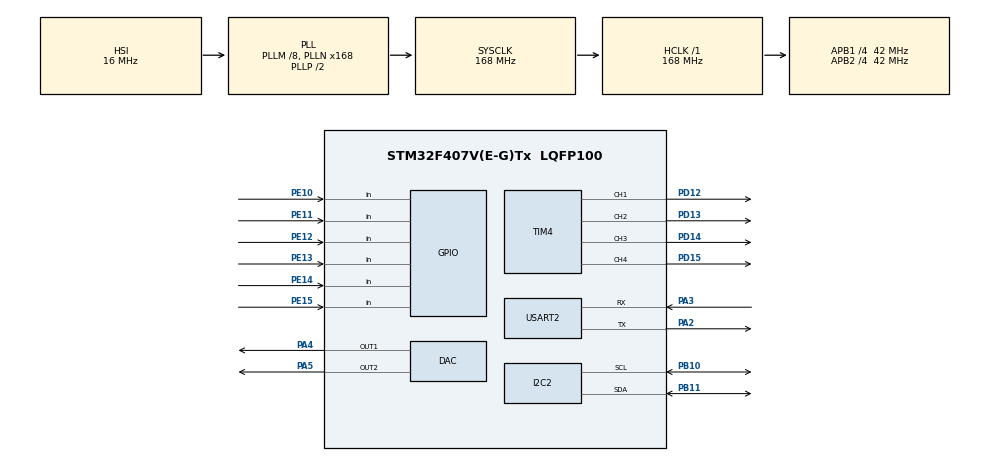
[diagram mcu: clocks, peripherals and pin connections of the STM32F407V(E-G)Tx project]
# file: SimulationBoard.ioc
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I2C2.OwnAddress=111
Mcu.Family=STM32F4
Mcu.Name=STM32F407V(E-G)Tx
Mcu.Package=LQFP100
NVIC.I2C2_ER_IRQn=true\:0\:0\:false\:false\:true\:true\:true\:true
NVIC.I2C2_EV_IRQn=true\:0\:0\:false\:false\:true\:true\:true\:true
NVIC.PriorityGroup=NVIC_PRIORITYGROUP_4
PA2.Mode=Asynchronous
PA2.Signal=USART2_TX
PA3.Mode=Asynchronous
PA3.Signal=USART2_RX
PA4.Signal=COMP_DAC1_group
PA5.Signal=COMP_DAC2_group
PB10.Mode=I2C
PB10.Signal=I2C2_SCL
PB11.Mode=I2C
PB11.Signal=I2C2_SDA
PD12.Signal=S_TIM4_CH1
PD13.Signal=S_TIM4_CH2
PD14.Signal=S_TIM4_CH3
PD15.Signal=S_TIM4_CH4
PE10.GPIO_PuPd=GPIO_PULLDOWN
PE10.Signal=GPIO_Input
PE11.GPIO_PuPd=GPIO_PULLDOWN
PE11.Signal=GPIO_Input
PE12.GPIO_PuPd=GPIO_PULLDOWN
PE12.Signal=GPIO_Input
PE13.GPIO_PuPd=GPIO_PULLDOWN
PE13.Signal=GPIO_Input
PE14.GPIO_PuPd=GPIO_PULLDOWN
PE14.Signal=GPIO_Input
PE15.GPIO_PuPd=GPIO_PULLDOWN
PE15.Signal=GPIO_Input
PH0-OSC_IN.Mode=HSE-External-Oscillator
PH0-OSC_IN.Signal=RCC_OSC_IN
PH1-OSC_OUT.Mode=HSE-External-Oscillator
PH1-OSC_OUT.Signal=RCC_OSC_OUT
ProjectManager.HeapSize=0x200
ProjectManager.StackSize=0x400
ProjectManager.TargetToolchain=STM32CubeIDE
RCC.48MHZClocksFreq_Value=84000000
RCC.AHBFreq_Value=168000000
RCC.APB1CLKDivider=RCC_HCLK_DIV4
RCC.APB1Freq_Value=42000000
RCC.APB1TimFreq_Value=84000000
RCC.APB2CLKDivider=RCC_HCLK_DIV4
RCC.APB2Freq_Value=42000000
RCC.APB2TimFreq_Value=84000000
RCC.CortexFreq_Value=168000000
RCC.HCLKFreq_Value=168000000
RCC.HSE_VALUE=25000000
RCC.HSI_VALUE=16000000
RCC.LSE_VALUE=32768
RCC.PLLM=8
RCC.PLLN=168
RCC.SYSCLKFreq_VALUE=168000000
RCC.SYSCLKSource=RCC_SYSCLKSOURCE_PLLCLK
RCC.VCOOutputFreq_Value=336000000
SH.COMP_DAC1_group.0=DAC_OUT1,DAC_OUT1
SH.COMP_DAC2_group.0=DAC_OUT2,DAC_OUT2
SH.S_TIM4_CH1.0=TIM4_CH1,PWM Generation1 CH1
SH.S_TIM4_CH2.0=TIM4_CH2,PWM Generation2 CH2
SH.S_TIM4_CH3.0=TIM4_CH3,PWM Generation3 CH3
SH.S_TIM4_CH4.0=TIM4_CH4,PWM Generation4 CH4
TIM4.Channel-PWM\ Generation1\ CH1=TIM_CHANNEL_1
TIM4.Channel-PWM\ Generation2\ CH2=TIM_CHANNEL_2
TIM4.Channel-PWM\ Generation3\ CH3=TIM_CHANNEL_3
TIM4.Channel-PWM\ Generation4\ CH4=TIM_CHANNEL_4
USART2.VirtualMode=VM_ASYNC
VP_TIM3_VS_ClockSourceINT.Mode=Internal
VP_TIM4_VS_ClockSourceINT.Mode=Internal
board=custom

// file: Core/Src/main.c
/* USER CODE BEGIN Header */
/**
  ******************************************************************************
  * @file           : main.c
  * @brief          : Main program body
  ******************************************************************************
  * @attention
  *
  * Copyright (c) 2024 STMicroelectronics.
  * All rights reserved.
  *
  * This software is licensed under terms that can be found in the LICENSE file
  * in the root directory of this software component.
  * If no LICENSE file comes with this software, it is provided AS-IS.
  *
  ******************************************************************************
  */
/* USER CODE END Header */
#include "main.h"

/* USER CODE BEGIN PM */
#define  FACE1_DTYCYC						(TIM4->CCR1)
#define  FACE2_DTYCYC						(TIM4->CCR2)
#define  FACE3_DTYCYC						(TIM4->CCR3)
#define  FACE4_DTYCYC						(TIM4->CCR4)
#define  MOTION_ANGLE_0_360			0
#define  MOTION_ANGLE_90			    90
#define  MOTION_ANGLE_180				180
#define  MOTION_ANGLE_270				270
#define  TIMER_OVF_PERIOD				12
#define  USART_TIMEOUT				   100
#define  RXBUFFERSIZE                      1
#define  IMU_REG_ACCEL_DATA         ((uint8_t)0x3B)
#define  IMU_REG_GYRO_DATA          ((uint8_t)0x43)
#define  IMU_REG_TEMP_DATA          ((uint8_t)0x41)
/* USER CODE END PM */

DAC_HandleTypeDef hdac;

I2C_HandleTypeDef hi2c2;

TIM_HandleTypeDef htim3;
TIM_HandleTypeDef htim4;

UART_HandleTypeDef huart2;

/* USER CODE BEGIN PV */
volatile uint32_t TIM_OVF = 0;
uint16_t 	MotionAng = 0;
uint8_t 		aTxBuffer[4];
uint8_t 		getMasterInput = 0;
uint8_t 		getTransferDirection = 0;
/* Buffer used for reception */
uint8_t 		aRxBuffer[4];
uint32_t 	ICValue = 0;
uint32_t 	Frequency = 0;
uint32_t 	XXICValue, YYICValue, ZZICValue;
uint8_t		i2ctemp[2] = { 0x06, 0xd2 };
uint8_t 		i2cAcc[6] = { 0, 2, 0, 3, 0, 0 };
uint8_t 		i2cGero[6] = { 0, 0, 0, 0, 0, 0 };
uint16_t	ACC_Xangle = 0;
uint16_t 	ACC_Yangle = 90;
uint16_t 	ACC_Zangle = 180;
uint16_t	Gyro_Xangle = 0;
uint16_t 	Gyro_Yangle = 0;
uint16_t 	Gyro_Zangle =0;
uint8_t 		increaseFlag = 0;
uint8_t		SimulationFace1Data[8] = {100,80,60,25,15,25,60,80};
uint8_t		SimulationFace2Data[8] = {60,80,100,80,60,25,15,25};
uint16_t	DAC1Val[8] 					 =	 {4095,3276,2457,1024,615,1024,2457,3276};
uint16_t	DAC2Val[8] 					 =  {615,1024,2457,3276,4095,3276,2457,1024};
uint8_t		SimulationFace3Data[8] = {15,25,60,80,100,80,60,25};
uint8_t		SimulationFace4Data[8] = {60,25,15,25,60,80,100,80};
/* USER CODE END PV */

void SystemClock_Config(void);
static void MX_GPIO_Init(void);
static void MX_DAC_Init(void);
static void MX_TIM4_Init(void);
static void MX_USART2_UART_Init(void);
static void MX_I2C2_Init(void);
static void MX_TIM3_Init(void);
/* USER CODE BEGIN PFP */
void MotorX_Read(void);
void MotorY_Read(void);
void MotorZ_Read(void);
/* USER CODE END PFP */

/* USER CODE BEGIN 0 */

void MotorX_Read(void)
{
	if ((HAL_GPIO_ReadPin(GPIOE, GPIO_PIN_10) == 1)
			&& (HAL_GPIO_ReadPin(GPIOE, GPIO_PIN_11) == 0)) {
		HAL_UART_Transmit(&huart2, (uint8_t*) "X FORWARD \n", 11, 1000);
		if (ACC_Xangle != 360)
			ACC_Xangle++;
		if (ACC_Xangle == 360)
			ACC_Xangle = 0;

		i2cAcc[0] = ACC_Xangle >> 8;
		i2cAcc[1] = (uint8_t) ACC_Xangle;

	} else if ((HAL_GPIO_ReadPin(GPIOE, GPIO_PIN_10) == 0)
			&& (HAL_GPIO_ReadPin(GPIOE, GPIO_PIN_11) == 1)) {
		HAL_UART_Transmit(&huart2, (uint8_t*) "X BACK  \n", 11, 1000);
		if (ACC_Xangle != 0)
			ACC_Xangle--;
		if (ACC_Xangle == 0)
			ACC_Xangle = 360;

		i2cAcc[0] = ACC_Xangle >> 8;
		i2cAcc[1] = (uint8_t) ACC_Xangle;
	} else {

	}
}
void MotorY_Read(void)
{
	if ((HAL_GPIO_ReadPin(GPIOE, GPIO_PIN_12) == 1)
			&& (HAL_GPIO_ReadPin(GPIOE, GPIO_PIN_13) == 0)) {
		HAL_UART_Transmit(&huart2, (uint8_t*) "Y FORWARD \n", 11, 1000);
		if (ACC_Yangle != 360)
			ACC_Yangle++;
		if (ACC_Yangle == 360)
			ACC_Yangle = 0;

		i2cAcc[2] = ACC_Yangle >> 8;
		i2cAcc[3] = (uint8_t) ACC_Yangle;

	} else if ((HAL_GPIO_ReadPin(GPIOE, GPIO_PIN_12) == 0)
			&& (HAL_GPIO_ReadPin(GPIOE, GPIO_PIN_13) == 1)) {
		HAL_UART_Transmit(&huart2, (uint8_t*) "Y BACK  \n", 11, 1000);
		if (ACC_Yangle != 0)
			ACC_Yangle--;
		if (ACC_Yangle == 0)
			ACC_Yangle = 360;

		i2cAcc[2] = ACC_Yangle >> 8;
		i2cAcc[3] = (uint8_t) ACC_Yangle;
	} else {

	}
}
void MotorZ_Read(void)
{
	if ((HAL_GPIO_ReadPin(GPIOE, GPIO_PIN_14) == 1)
			&& (HAL_GPIO_ReadPin(GPIOE, GPIO_PIN_15) == 0)) {
		HAL_UART_Transmit(&huart2, (uint8_t*) "Z FORWARD \n", 11, 1000);
		if (ACC_Zangle != 360)
			ACC_Zangle++;
		if (ACC_Zangle == 360)
			ACC_Zangle = 0;

		i2cAcc[4] = ACC_Zangle >> 8;
		i2cAcc[5] = (uint8_t) ACC_Zangle;

	} else if ((HAL_GPIO_ReadPin(GPIOE, GPIO_PIN_14) == 0)
			&& (HAL_GPIO_ReadPin(GPIOE, GPIO_PIN_15) == 1)) {
		HAL_UART_Transmit(&huart2, (uint8_t*) "Z BACK  \n", 11, 1000);
		if (ACC_Zangle != 0)
			ACC_Zangle--;
		if (ACC_Zangle == 0)
			ACC_Zangle = 360;

		i2cAcc[4] = ACC_Zangle >> 8;
		i2cAcc[5] = (uint8_t) ACC_Zangle;
	} else {

	}
}
/* USER CODE END 0 */

int main(void)
{

  /* MCU Configuration--------------------------------------------------------*/

  /* Reset of all peripherals, Initializes the Flash interface and the Systick. */
  HAL_Init();

  /* Configure the system clock */
  SystemClock_Config();

  /* Initialize all configured peripherals */
  MX_GPIO_Init();
  MX_DAC_Init();
  MX_TIM4_Init();
  MX_USART2_UART_Init();
  MX_I2C2_Init();
  MX_TIM3_Init();
  /* USER CODE BEGIN 2 */
  HAL_I2C_EnableListen_IT(&hi2c2);
	HAL_DAC_Start(&hdac, DAC_CHANNEL_1);
	HAL_DAC_Start(&hdac, DAC_CHANNEL_2);
	/*-------------------------------------------
	 * Start PWM for the Different Channels
	 * ------------------------------------------
	 */
	HAL_TIM_Base_Start_IT(&htim3);

	HAL_TIM_PWM_Start(&htim4, TIM_CHANNEL_1);
	HAL_TIM_PWM_Start(&htim4, TIM_CHANNEL_2);
	HAL_TIM_PWM_Start(&htim4, TIM_CHANNEL_3);
	HAL_TIM_PWM_Start(&htim4, TIM_CHANNEL_4);
	/*-------------------------------------------
	 * Set The Duty Cycle of Various PWM channels
	 * -------------------------------------------
	 */
	FACE1_DTYCYC = 90;
	FACE2_DTYCYC = 85;
	FACE3_DTYCYC = 25;
	FACE4_DTYCYC = 25;
	HAL_UART_Transmit(&huart2, (uint8_t*) "Hello Seif El-Didi && Islam Hany \n", 34,
						USART_TIMEOUT);

  /* USER CODE END 2 */

  /* Infinite loop */
  while (1)
  {

    /* USER CODE BEGIN 3 */
		if (TIM_OVF >= TIMER_OVF_PERIOD) {
			/*-------------------------------------------------------------
			 * Set Duty Cycle of PWM to Indicate LDR Voltage
			 * -------------------------------------------------------------
			 */
			FACE1_DTYCYC = SimulationFace1Data[MotionAng];
			FACE2_DTYCYC = SimulationFace2Data[MotionAng];
			FACE3_DTYCYC = SimulationFace3Data[MotionAng];
			FACE4_DTYCYC = SimulationFace4Data[MotionAng];
			/*-------------------------------------------------------------
			 * Set Dac Value to Simulate Solar Cells on Face 1 and 3
			 * -------------------------------------------------------------
			 */
			HAL_DAC_SetValue(&hdac, DAC_CHANNEL_1, DAC_ALIGN_12B_R,
					DAC1Val[MotionAng]);
			HAL_DAC_SetValue(&hdac, DAC_CHANNEL_2, DAC_ALIGN_12B_R,
					DAC2Val[MotionAng]);
			MotionAng = (MotionAng == 7 ? 0 : MotionAng + 1);
			TIM_OVF = 0;

			/*-------------------------------------------------------------
			* tilting the CubeSat to change the Gyroscope readings
			* -------------------------------------------------------------
			*/
			Gyro_Zangle += ((45*65535)/360);
			i2cGero[4]	 = Gyro_Zangle>>8;
			i2cGero[5] 	 = Gyro_Zangle;

			if(Gyro_Zangle >= 65535)
				Gyro_Zangle = 0;

	  }
	  /********************** X Motor Read *************************/
	  MotorX_Read();
	  /*********************  Y Motor Read ***********************/
	  MotorY_Read();
	  	/******************** Z Motor Read ***********************/
	  MotorZ_Read();
  }
  /* USER CODE END 3 */
}

void SystemClock_Config(void)
{
  RCC_OscInitTypeDef RCC_OscInitStruct = {0};
  RCC_ClkInitTypeDef RCC_ClkInitStruct = {0};

  /** Configure the main internal regulator output voltage
  */
  __HAL_RCC_PWR_CLK_ENABLE();
  __HAL_PWR_VOLTAGESCALING_CONFIG(PWR_REGULATOR_VOLTAGE_SCALE1);

  /** Initializes the RCC Oscillators according to the specified parameters
  * in the RCC_OscInitTypeDef structure.
  */
  RCC_OscInitStruct.OscillatorType = RCC_OSCILLATORTYPE_HSI;
  RCC_OscInitStruct.HSIState = RCC_HSI_ON;
  RCC_OscInitStruct.HSICalibrationValue = RCC_HSICALIBRATION_DEFAULT;
  RCC_OscInitStruct.PLL.PLLState = RCC_PLL_ON;
  RCC_OscInitStruct.PLL.PLLSource = RCC_PLLSOURCE_HSI;
  RCC_OscInitStruct.PLL.PLLM = 8;
  RCC_OscInitStruct.PLL.PLLN = 168;
  RCC_OscInitStruct.PLL.PLLP = RCC_PLLP_DIV2;
  RCC_OscInitStruct.PLL.PLLQ = 4;
  if (HAL_RCC_OscConfig(&RCC_OscInitStruct) != HAL_OK)
  {
    Error_Handler();
  }

  /** Initializes the CPU, AHB and APB buses clocks
  */
  RCC_ClkInitStruct.ClockType = RCC_CLOCKTYPE_HCLK|RCC_CLOCKTYPE_SYSCLK
                              |RCC_CLOCKTYPE_PCLK1|RCC_CLOCKTYPE_PCLK2;
  RCC_ClkInitStruct.SYSCLKSource = RCC_SYSCLKSOURCE_PLLCLK;
  RCC_ClkInitStruct.AHBCLKDivider = RCC_SYSCLK_DIV1;
  RCC_ClkInitStruct.APB1CLKDivider = RCC_HCLK_DIV4;
  RCC_ClkInitStruct.APB2CLKDivider = RCC_HCLK_DIV4;

  if (HAL_RCC_ClockConfig(&RCC_ClkInitStruct, FLASH_LATENCY_5) != HAL_OK)
  {
    Error_Handler();
  }
}

static void MX_DAC_Init(void)
{

  DAC_ChannelConfTypeDef sConfig = {0};

  /** DAC Initialization
  */
  hdac.Instance = DAC;
  if (HAL_DAC_Init(&hdac) != HAL_OK)
  {
    Error_Handler();
  }

  /** DAC channel OUT1 config
  */
  sConfig.DAC_Trigger = DAC_TRIGGER_NONE;
  sConfig.DAC_OutputBuffer = DAC_OUTPUTBUFFER_ENABLE;
  if (HAL_DAC_ConfigChannel(&hdac, &sConfig, DAC_CHANNEL_1) != HAL_OK)
  {
    Error_Handler();
  }

  /** DAC channel OUT2 config
  */
  if (HAL_DAC_ConfigChannel(&hdac, &sConfig, DAC_CHANNEL_2) != HAL_OK)
  {
    Error_Handler();
  }

}

static void MX_I2C2_Init(void)
{

  hi2c2.Instance = I2C2;
  hi2c2.Init.ClockSpeed = 100000;
  hi2c2.Init.DutyCycle = I2C_DUTYCYCLE_2;
  hi2c2.Init.OwnAddress1 = 222;
  hi2c2.Init.AddressingMode = I2C_ADDRESSINGMODE_7BIT;
  hi2c2.Init.DualAddressMode = I2C_DUALADDRESS_DISABLE;
  hi2c2.Init.OwnAddress2 = 0;
  hi2c2.Init.GeneralCallMode = I2C_GENERALCALL_DISABLE;
  hi2c2.Init.NoStretchMode = I2C_NOSTRETCH_DISABLE;
  if (HAL_I2C_Init(&hi2c2) != HAL_OK)
  {
    Error_Handler();
  }

}

static void MX_TIM3_Init(void)
{

  TIM_ClockConfigTypeDef sClockSourceConfig = {0};
  TIM_MasterConfigTypeDef sMasterConfig = {0};

  htim3.Instance = TIM3;
  htim3.Init.Prescaler = 65535-1;
  htim3.Init.CounterMode = TIM_COUNTERMODE_UP;
  htim3.Init.Period = 65535;
  htim3.Init.ClockDivision = TIM_CLOCKDIVISION_DIV1;
  htim3.Init.AutoReloadPreload = TIM_AUTORELOAD_PRELOAD_DISABLE;
  if (HAL_TIM_Base_Init(&htim3) != HAL_OK)
  {
    Error_Handler();
  }
  sClockSourceConfig.ClockSource = TIM_CLOCKSOURCE_INTERNAL;
  if (HAL_TIM_ConfigClockSource(&htim3, &sClockSourceConfig) != HAL_OK)
  {
    Error_Handler();
  }
  sMasterConfig.MasterOutputTrigger = TIM_TRGO_RESET;
  sMasterConfig.MasterSlaveMode = TIM_MASTERSLAVEMODE_DISABLE;
  if (HAL_TIMEx_MasterConfigSynchronization(&htim3, &sMasterConfig) != HAL_OK)
  {
    Error_Handler();
  }

}

static void MX_TIM4_Init(void)
{

  TIM_ClockConfigTypeDef sClockSourceConfig = {0};
  TIM_MasterConfigTypeDef sMasterConfig = {0};
  TIM_OC_InitTypeDef sConfigOC = {0};

  htim4.Instance = TIM4;
  htim4.Init.Prescaler = 0;
  htim4.Init.CounterMode = TIM_COUNTERMODE_UP;
  htim4.Init.Period = 65535;
  htim4.Init.ClockDivision = TIM_CLOCKDIVISION_DIV1;
  htim4.Init.AutoReloadPreload = TIM_AUTORELOAD_PRELOAD_DISABLE;
  if (HAL_TIM_Base_Init(&htim4) != HAL_OK)
  {
    Error_Handler();
  }
  sClockSourceConfig.ClockSource = TIM_CLOCKSOURCE_INTERNAL;
  if (HAL_TIM_ConfigClockSource(&htim4, &sClockSourceConfig) != HAL_OK)
  {
    Error_Handler();
  }
  if (HAL_TIM_PWM_Init(&htim4) != HAL_OK)
  {
    Error_Handler();
  }
  sMasterConfig.MasterOutputTrigger = TIM_TRGO_RESET;
  sMasterConfig.MasterSlaveMode = TIM_MASTERSLAVEMODE_DISABLE;
  if (HAL_TIMEx_MasterConfigSynchronization(&htim4, &sMasterConfig) != HAL_OK)
  {
    Error_Handler();
  }
  sConfigOC.OCMode = TIM_OCMODE_PWM1;
  sConfigOC.Pulse = 0;
  sConfigOC.OCPolarity = TIM_OCPOLARITY_HIGH;
  sConfigOC.OCFastMode = TIM_OCFAST_DISABLE;
  if (HAL_TIM_PWM_ConfigChannel(&htim4, &sConfigOC, TIM_CHANNEL_1) != HAL_OK)
  {
    Error_Handler();
  }
  if (HAL_TIM_PWM_ConfigChannel(&htim4, &sConfigOC, TIM_CHANNEL_2) != HAL_OK)
  {
    Error_Handler();
  }
  if (HAL_TIM_PWM_ConfigChannel(&htim4, &sConfigOC, TIM_CHANNEL_3) != HAL_OK)
  {
    Error_Handler();
  }
  if (HAL_TIM_PWM_ConfigChannel(&htim4, &sConfigOC, TIM_CHANNEL_4) != HAL_OK)
  {
    Error_Handler();
  }
  HAL_TIM_MspPostInit(&htim4);

}

static void MX_USART2_UART_Init(void)
{

  huart2.Instance = USART2;
  huart2.Init.BaudRate = 115200;
  huart2.Init.WordLength = UART_WORDLENGTH_8B;
  huart2.Init.StopBits = UART_STOPBITS_1;
  huart2.Init.Parity = UART_PARITY_NONE;
  huart2.Init.Mode = UART_MODE_TX_RX;
  huart2.Init.HwFlowCtl = UART_HWCONTROL_NONE;
  huart2.Init.OverSampling = UART_OVERSAMPLING_16;
  if (HAL_UART_Init(&huart2) != HAL_OK)
  {
    Error_Handler();
  }

}

static void MX_GPIO_Init(void)
{
  GPIO_InitTypeDef GPIO_InitStruct = {0};

  /* GPIO Ports Clock Enable */
  __HAL_RCC_GPIOH_CLK_ENABLE();
  __HAL_RCC_GPIOA_CLK_ENABLE();
  __HAL_RCC_GPIOE_CLK_ENABLE();
  __HAL_RCC_GPIOB_CLK_ENABLE();
  __HAL_RCC_GPIOD_CLK_ENABLE();

  /*Configure GPIO pins : PE10 PE11 PE12 PE13
                           PE14 PE15 */
  GPIO_InitStruct.Pin = GPIO_PIN_10|GPIO_PIN_11|GPIO_PIN_12|GPIO_PIN_13
                          |GPIO_PIN_14|GPIO_PIN_15;
  GPIO_InitStruct.Mode = GPIO_MODE_INPUT;
  GPIO_InitStruct.Pull = GPIO_PULLDOWN;
  HAL_GPIO_Init(GPIOE, &GPIO_InitStruct);

}

/* USER CODE BEGIN 4 */
void HAL_TIM_PeriodElapsedCallback(TIM_HandleTypeDef *htim)
{
	TIM_OVF ++;
}

void HAL_I2C_ErrorCallback(I2C_HandleTypeDef *hi2c) {

    HAL_I2C_EnableListen_IT(hi2c);
}

void HAL_I2C_ListenCpltCallback(I2C_HandleTypeDef *hi2c) {
	HAL_I2C_EnableListen_IT(hi2c);
}
int flag = 0;

void HAL_I2C_AddrCallback(I2C_HandleTypeDef *hi2c, uint8_t TransferDirection,
		uint16_t AddrMatchCode) {
	getTransferDirection = TransferDirection;
	if (TransferDirection == I2C_DIRECTION_TRANSMIT) // if the master wants to transmit the data
	{
		/*
		 * receive using sequential function.
		 *The I2C_FIRST_AND_LAST_FRAME implies that the slave
		 * will send a NACK after receiving "entered" num of bytes
		 */
		HAL_I2C_Slave_Sequential_Receive_IT(hi2c , aRxBuffer , 1 , I2C_FIRST_AND_LAST_FRAME);
	} else  // if the master requests the data from the slave
	{
		//HAL_UART_Transmit(&huart2, "SENDDDDDDD", 13, 1000);

		//HAL_I2C_Slave_Transmit(&hi2c3, tomaster,2, 100);
		//HAL_Delay(1)
		flag = 1;
		if (aRxBuffer[0] == IMU_REG_ACCEL_DATA) {
			HAL_I2C_Slave_Sequential_Transmit_IT(&hi2c2, i2cAcc, 6,
					I2C_FIRST_AND_NEXT_FRAME);

		}
		if (aRxBuffer[0] == IMU_REG_GYRO_DATA) {

			HAL_I2C_Slave_Sequential_Transmit_IT(&hi2c2, i2cGero, 6,
					I2C_FIRST_AND_NEXT_FRAME);
		}
		if (aRxBuffer[0] == IMU_REG_TEMP_DATA) {
			HAL_I2C_Slave_Sequential_Transmit_IT(&hi2c2, i2ctemp, 2,
					I2C_FIRST_AND_NEXT_FRAME);
		}

		/*	HAL_Delay(2);
		 HAL_I2C_DeInit(&hi2c3);
		 HAL_I2C_Init(&hi2c3);
		 */

		//HAL_I2C_EnableListen_IT(&hi2c3);
	}
}
/* USER CODE END 4 */

void Error_Handler(void)
{
  __disable_irq();
  while (1)
  {
  }
}
